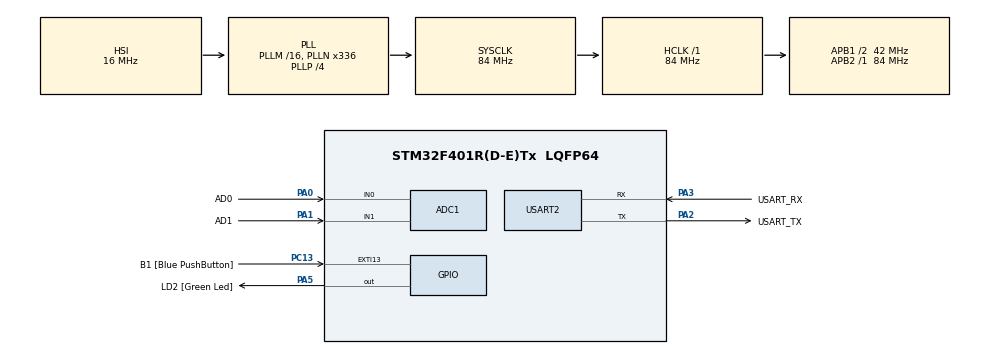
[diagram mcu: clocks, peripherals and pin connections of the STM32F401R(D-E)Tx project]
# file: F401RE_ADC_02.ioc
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ADC1.Channel-0\#ChannelRegularConversion=ADC_CHANNEL_0
ADC1.NbrOfConversionFlag=1
ADC1.Rank-0\#ChannelRegularConversion=1
ADC1.SamplingTime-0\#ChannelRegularConversion=ADC_SAMPLETIME_3CYCLES
ADC1.master=1
Mcu.Family=STM32F4
Mcu.Name=STM32F401R(D-E)Tx
Mcu.Package=LQFP64
NVIC.ADC_IRQn=true\:0\:0\:false\:false\:true
NVIC.PriorityGroup=NVIC_PRIORITYGROUP_0
NVIC.USART2_IRQn=true\:0\:0\:false\:false\:true
PA0-WKUP.GPIO_Label=AD0
PA0-WKUP.Signal=ADCx_IN0
PA1.GPIO_Label=AD1
PA1.Signal=ADCx_IN1
PA13.GPIO_Label=TMS
PA13.Signal=SYS_JTMS-SWDIO
PA14.GPIO_Label=TCK
PA14.Signal=SYS_JTCK-SWCLK
PA2.GPIO_Label=USART_TX
PA2.GPIO_Mode=GPIO_MODE_AF_PP
PA2.GPIO_PuPd=GPIO_NOPULL
PA2.GPIO_Speed=GPIO_SPEED_FREQ_LOW
PA2.Mode=Asynchronous
PA2.Signal=USART2_TX
PA3.GPIO_Label=USART_RX
PA3.GPIO_Mode=GPIO_MODE_AF_PP
PA3.GPIO_PuPd=GPIO_NOPULL
PA3.GPIO_Speed=GPIO_SPEED_FREQ_LOW
PA3.Mode=Asynchronous
PA3.Signal=USART2_RX
PA5.GPIO_Label=LD2 [Green Led]
PA5.GPIO_Mode=GPIO_MODE_OUTPUT_PP
PA5.GPIO_PuPd=GPIO_NOPULL
PA5.GPIO_Speed=GPIO_SPEED_FREQ_LOW
PA5.Signal=GPIO_Output
PB3.GPIO_Label=SWO
PB3.Signal=SYS_JTDO-SWO
PC13-ANTI_TAMP.GPIO_Label=B1 [Blue PushButton]
PC13-ANTI_TAMP.GPIO_ModeDefaultEXTI=GPIO_MODE_EVT_RISING
PC13-ANTI_TAMP.GPIO_PuPd=GPIO_NOPULL
PC13-ANTI_TAMP.Signal=GPXTI13
PC14-OSC32_IN.Signal=RCC_OSC32_IN
PC15-OSC32_OUT.Signal=RCC_OSC32_OUT
PH0\ -\ OSC_IN.Signal=RCC_OSC_IN
PH1\ -\ OSC_OUT.Signal=RCC_OSC_OUT
ProjectManager.HeapSize=0x200
ProjectManager.StackSize=0x400
ProjectManager.TargetToolchain=MDK-ARM V5
RCC.AHBFreq_Value=84000000
RCC.APB1CLKDivider=RCC_HCLK_DIV2
RCC.APB1Freq_Value=42000000
RCC.APB1TimFreq_Value=84000000
RCC.APB2Freq_Value=84000000
RCC.APB2TimFreq_Value=84000000
RCC.CortexFreq_Value=84000000
RCC.HCLKFreq_Value=84000000
RCC.HSE_VALUE=8000000
RCC.HSI_VALUE=16000000
RCC.LSE_VALUE=32768
RCC.PLLN=336
RCC.PLLP=RCC_PLLP_DIV4
RCC.PLLQ=7
RCC.SYSCLKFreq_VALUE=84000000
RCC.SYSCLKSource=RCC_SYSCLKSOURCE_PLLCLK
RCC.VCOOutputFreq_Value=336000000
SH.ADCx_IN0.0=ADC1_IN0,IN0
SH.ADCx_IN1.0=ADC1_IN1,IN1
board=NUCLEO-F401RE

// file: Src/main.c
/**
  ******************************************************************************
  * File Name          : main.c
  * Description        : Main program body
  ******************************************************************************
  *
  * COPYRIGHT(c) 2016 STMicroelectronics
  *
  * Redistribution and use in source and binary forms, with or without modification,
  * are permitted provided that the following conditions are met:
  *   1. Redistributions of source code must retain the above copyright notice,
  *      this list of conditions and the following disclaimer.
  *   2. Redistributions in binary form must reproduce the above copyright notice,
  *      this list of conditions and the following disclaimer in the documentation
  *      and/or other materials provided with the distribution.
  *   3. Neither the name of STMicroelectronics nor the names of its contributors
  *      may be used to endorse or promote products derived from this software
  *      without specific prior written permission.
  *
  * THIS SOFTWARE IS PROVIDED BY THE COPYRIGHT HOLDERS AND CONTRIBUTORS "AS IS"
  * AND ANY EXPRESS OR IMPLIED WARRANTIES, INCLUDING, BUT NOT LIMITED TO, THE
  * IMPLIED WARRANTIES OF MERCHANTABILITY AND FITNESS FOR A PARTICULAR PURPOSE ARE
  * DISCLAIMED. IN NO EVENT SHALL THE COPYRIGHT HOLDER OR CONTRIBUTORS BE LIABLE
  * FOR ANY DIRECT, INDIRECT, INCIDENTAL, SPECIAL, EXEMPLARY, OR CONSEQUENTIAL
  * DAMAGES (INCLUDING, BUT NOT LIMITED TO, PROCUREMENT OF SUBSTITUTE GOODS OR
  * SERVICES; LOSS OF USE, DATA, OR PROFITS; OR BUSINESS INTERRUPTION) HOWEVER
  * CAUSED AND ON ANY THEORY OF LIABILITY, WHETHER IN CONTRACT, STRICT LIABILITY,
  * OR TORT (INCLUDING NEGLIGENCE OR OTHERWISE) ARISING IN ANY WAY OUT OF THE USE
  * OF THIS SOFTWARE, EVEN IF ADVISED OF THE POSSIBILITY OF SUCH DAMAGE.
  *
  ******************************************************************************
  */
#include "stm32f4xx_hal.h"

/* USER CODE BEGIN Includes */
#include <stdio.h>
#include <stdlib.h>
#include <string.h>
/* USER CODE END Includes */

ADC_HandleTypeDef hadc1;

UART_HandleTypeDef huart2;

/* USER CODE BEGIN PV */
/* Private variables ---------------------------------------------------------*/
volatile int AdcCH = 0;
volatile int AdcValue[2];
/* USER CODE END PV */

void SystemClock_Config(void);
void Error_Handler(void);
static void MX_GPIO_Init(void);
static void MX_ADC1_Init(void);
static void MX_USART2_UART_Init(void);

/* USER CODE BEGIN PFP */
/* Private function prototypes -----------------------------------------------*/
char sio_getc(void);		// UARTから1文字取得
void sio_putc(char);		// UARTに1文字を出力
void sio_puts(char *);	// UARTに文字列を出力
/* USER CODE END PFP */

/* USER CODE BEGIN 0 */
char sio_getc()
{
	char ch;
	while(HAL_UART_Receive(&huart2, (uint8_t *)&ch, 1, 1000)==HAL_TIMEOUT) ;
	return ch;
}

void sio_putc(char ch)
{
	HAL_UART_Transmit(&huart2, (uint8_t *)&ch, 1, 1000);
}

void sio_puts(char *str)
{
	HAL_UART_Transmit(&huart2, (uint8_t *)str, strlen(str), 1000);
}

void HAL_ADC_ConvCpltCallback(ADC_HandleTypeDef* hadc)
{
	ADC_ChannelConfTypeDef sConfig;
	AdcValue[AdcCH] = HAL_ADC_GetValue(hadc);
	HAL_ADC_Stop_IT(hadc);
	if(AdcCH == 0){
		sConfig.Channel = ADC_CHANNEL_1;
		AdcCH = 1;
	} else {
		sConfig.Channel = ADC_CHANNEL_0;
		AdcCH = 0;
	}
	sConfig.Rank = 1;
	sConfig.SamplingTime = ADC_SAMPLETIME_3CYCLES;
	HAL_ADC_ConfigChannel(&hadc1, &sConfig);
	HAL_ADC_Start_IT(hadc);
}
/* USER CODE END 0 */

int main(void)
{

  /* USER CODE BEGIN 1 */
	ADC_ChannelConfTypeDef sConfig;
	char str[16];

  /* USER CODE END 1 */

  /* MCU Configuration----------------------------------------------------------*/

  /* Reset of all peripherals, Initializes the Flash interface and the Systick. */
  HAL_Init();

  /* Configure the system clock */
  SystemClock_Config();

  /* Initialize all configured peripherals */
  MX_GPIO_Init();
  MX_ADC1_Init();
  MX_USART2_UART_Init();

  /* USER CODE BEGIN 2 */
  AdcCH = 0;
  sConfig.Channel = ADC_CHANNEL_0;
  sConfig.Rank = 1;
  sConfig.SamplingTime = ADC_SAMPLETIME_3CYCLES;;
  HAL_ADC_ConfigChannel(&hadc1, &sConfig);
  HAL_ADCEx_InjectedStart(&hadc1);
  HAL_ADC_Start_IT(&hadc1);

  /* USER CODE END 2 */

  /* Infinite loop */
  /* USER CODE BEGIN WHILE */
  while (1)
  {
	  sprintf(str, "ADC0: %04X\tADC1: %04X\n", AdcValue[0], AdcValue[1]);
	  sio_puts(str);
  /* USER CODE END WHILE */

  }

}

/** System Clock Configuration
*/
void SystemClock_Config(void)
{

  RCC_OscInitTypeDef RCC_OscInitStruct;
  RCC_ClkInitTypeDef RCC_ClkInitStruct;

  __HAL_RCC_PWR_CLK_ENABLE();

  __HAL_PWR_VOLTAGESCALING_CONFIG(PWR_REGULATOR_VOLTAGE_SCALE2);

  RCC_OscInitStruct.OscillatorType = RCC_OSCILLATORTYPE_HSI;
  RCC_OscInitStruct.HSIState = RCC_HSI_ON;
  RCC_OscInitStruct.HSICalibrationValue = 16;
  RCC_OscInitStruct.PLL.PLLState = RCC_PLL_ON;
  RCC_OscInitStruct.PLL.PLLSource = RCC_PLLSOURCE_HSI;
  RCC_OscInitStruct.PLL.PLLM = 16;
  RCC_OscInitStruct.PLL.PLLN = 336;
  RCC_OscInitStruct.PLL.PLLP = RCC_PLLP_DIV4;
  RCC_OscInitStruct.PLL.PLLQ = 7;
  if (HAL_RCC_OscConfig(&RCC_OscInitStruct) != HAL_OK)
  {
    Error_Handler();
  }

  RCC_ClkInitStruct.ClockType = RCC_CLOCKTYPE_HCLK|RCC_CLOCKTYPE_SYSCLK
                              |RCC_CLOCKTYPE_PCLK1|RCC_CLOCKTYPE_PCLK2;
  RCC_ClkInitStruct.SYSCLKSource = RCC_SYSCLKSOURCE_PLLCLK;
  RCC_ClkInitStruct.AHBCLKDivider = RCC_SYSCLK_DIV1;
  RCC_ClkInitStruct.APB1CLKDivider = RCC_HCLK_DIV2;
  RCC_ClkInitStruct.APB2CLKDivider = RCC_HCLK_DIV1;
  if (HAL_RCC_ClockConfig(&RCC_ClkInitStruct, FLASH_LATENCY_2) != HAL_OK)
  {
    Error_Handler();
  }

  HAL_SYSTICK_Config(HAL_RCC_GetHCLKFreq()/1000);

  HAL_SYSTICK_CLKSourceConfig(SYSTICK_CLKSOURCE_HCLK);

  /* SysTick_IRQn interrupt configuration */
  HAL_NVIC_SetPriority(SysTick_IRQn, 0, 0);
}

/* ADC1 init function */
static void MX_ADC1_Init(void)
{

  ADC_ChannelConfTypeDef sConfig;

    /**Configure the global features of the ADC (Clock, Resolution, Data Alignment and number of conversion)
    */
  hadc1.Instance = ADC1;
  hadc1.Init.ClockPrescaler = ADC_CLOCK_SYNC_PCLK_DIV4;
  hadc1.Init.Resolution = ADC_RESOLUTION_12B;
  hadc1.Init.ScanConvMode = DISABLE;
  hadc1.Init.ContinuousConvMode = DISABLE;
  hadc1.Init.DiscontinuousConvMode = DISABLE;
  hadc1.Init.ExternalTrigConvEdge = ADC_EXTERNALTRIGCONVEDGE_NONE;
  hadc1.Init.DataAlign = ADC_DATAALIGN_RIGHT;
  hadc1.Init.NbrOfConversion = 1;
  hadc1.Init.DMAContinuousRequests = DISABLE;
  hadc1.Init.EOCSelection = ADC_EOC_SINGLE_CONV;
  if (HAL_ADC_Init(&hadc1) != HAL_OK)
  {
    Error_Handler();
  }

    /**Configure for the selected ADC regular channel its corresponding rank in the sequencer and its sample time.
    */
  sConfig.Channel = ADC_CHANNEL_0;
  sConfig.Rank = 1;
  sConfig.SamplingTime = ADC_SAMPLETIME_3CYCLES;
  if (HAL_ADC_ConfigChannel(&hadc1, &sConfig) != HAL_OK)
  {
    Error_Handler();
  }

}

/* USART2 init function */
static void MX_USART2_UART_Init(void)
{

  huart2.Instance = USART2;
  huart2.Init.BaudRate = 115200;
  huart2.Init.WordLength = UART_WORDLENGTH_8B;
  huart2.Init.StopBits = UART_STOPBITS_1;
  huart2.Init.Parity = UART_PARITY_NONE;
  huart2.Init.Mode = UART_MODE_TX_RX;
  huart2.Init.HwFlowCtl = UART_HWCONTROL_NONE;
  huart2.Init.OverSampling = UART_OVERSAMPLING_16;
  if (HAL_UART_Init(&huart2) != HAL_OK)
  {
    Error_Handler();
  }

}

/** Configure pins as
        * Analog
        * Input
        * Output
        * EVENT_OUT
        * EXTI
*/
static void MX_GPIO_Init(void)
{

  GPIO_InitTypeDef GPIO_InitStruct;

  /* GPIO Ports Clock Enable */
  __HAL_RCC_GPIOC_CLK_ENABLE();
  __HAL_RCC_GPIOH_CLK_ENABLE();
  __HAL_RCC_GPIOA_CLK_ENABLE();
  __HAL_RCC_GPIOB_CLK_ENABLE();

  /*Configure GPIO pin : B1_Pin */
  GPIO_InitStruct.Pin = B1_Pin;
  GPIO_InitStruct.Mode = GPIO_MODE_EVT_RISING;
  GPIO_InitStruct.Pull = GPIO_NOPULL;
  HAL_GPIO_Init(B1_GPIO_Port, &GPIO_InitStruct);

  /*Configure GPIO pin : LD2_Pin */
  GPIO_InitStruct.Pin = LD2_Pin;
  GPIO_InitStruct.Mode = GPIO_MODE_OUTPUT_PP;
  GPIO_InitStruct.Pull = GPIO_NOPULL;
  GPIO_InitStruct.Speed = GPIO_SPEED_FREQ_LOW;
  HAL_GPIO_Init(LD2_GPIO_Port, &GPIO_InitStruct);

  /*Configure GPIO pin Output Level */
  HAL_GPIO_WritePin(LD2_GPIO_Port, LD2_Pin, GPIO_PIN_RESET);

}

void Error_Handler(void)
{
  while(1)
  {
  }
}

/************************ (C) COPYRIGHT STMicroelectronics *****END OF FILE****/
